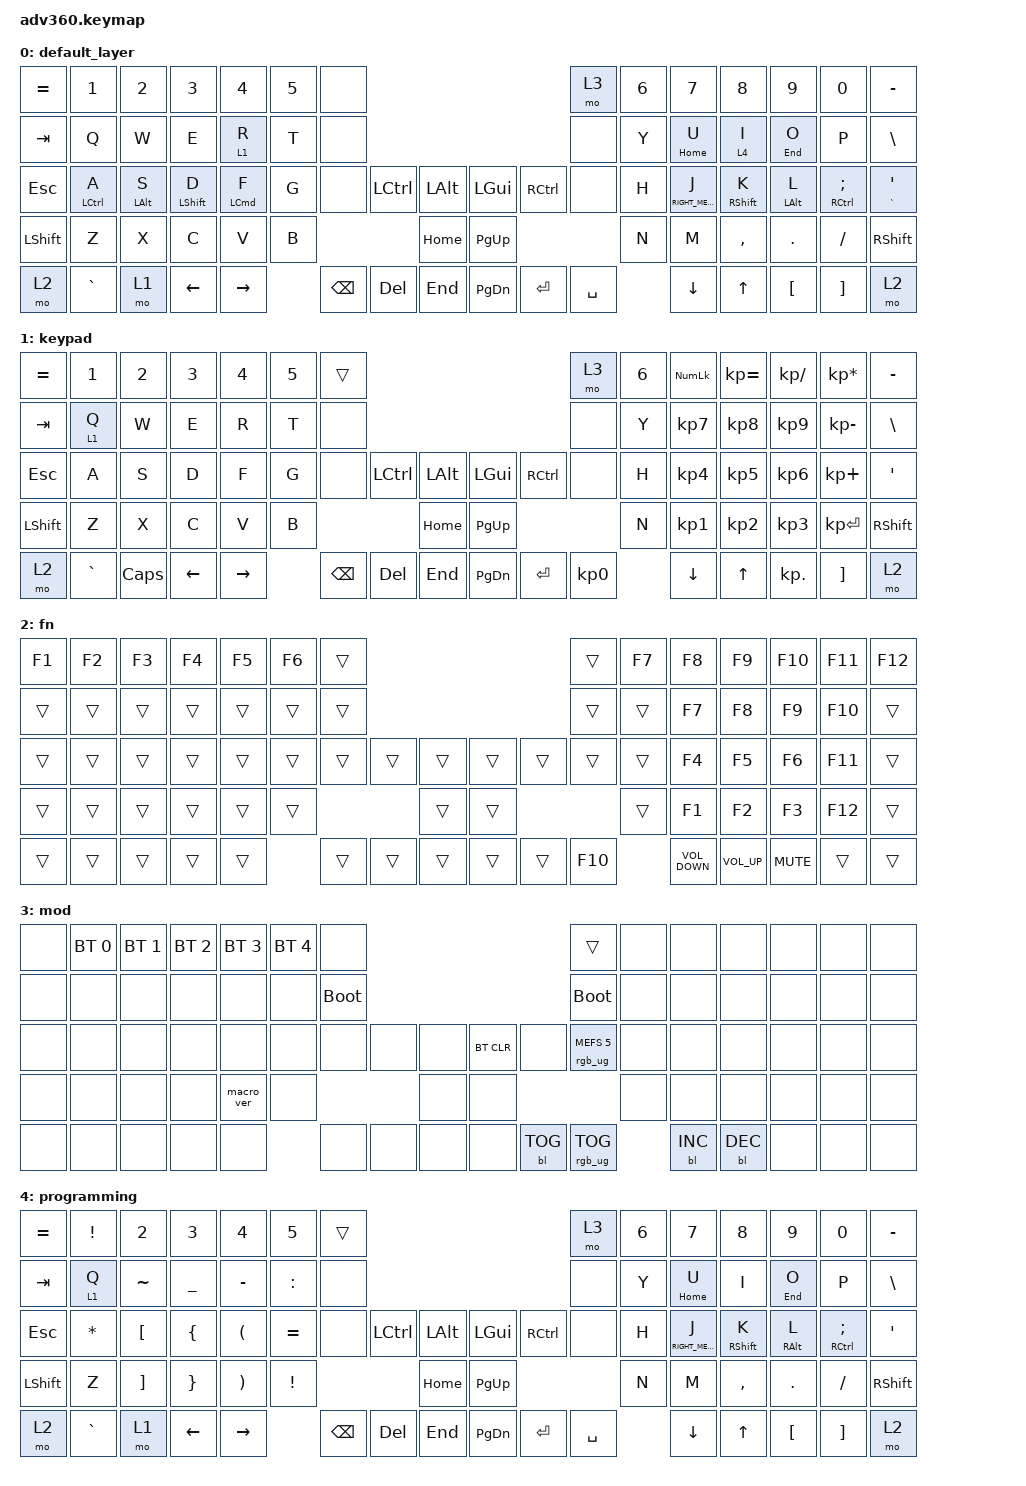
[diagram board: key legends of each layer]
#include <behaviors.dtsi>
#include <dt-bindings/zmk/backlight.h>
#include <dt-bindings/zmk/bt.h>
#include <dt-bindings/zmk/keys.h>
#include <dt-bindings/zmk/rgb.h>

/ {
    behaviors {
        #include "macros.dtsi"
      #include "version.dtsi"
      #ifndef VERSION_MACRO

        macro_ver: macro_ver {
            compatible = "zmk,behavior-macro";
            label = "macro_version";
            #binding-cells = <0>;
            bindings = <&kp RET>;
        };

        #endif

        hm: homerow_mods {
            compatible = "zmk,behavior-hold-tap";
            label = "HOMEROW_MODS";
            #binding-cells = <2>;
            tapping-term-ms = <200>;
            quick_tap_ms = <175>;
            flavor = "tap-preferred";
            bindings = <&kp>, <&kp>;
        };

        hmLayer: hmLayer {
            compatible = "zmk,behavior-hold-tap";
            label = "HMLAYER";
            #binding-cells = <2>;
            tapping-term-ms = <200>;
            quick_tap_ms = <175>;
            flavor = "tap-preferred";
            bindings = <&mo>, <&kp>;
        };
    };

    macros {
    };

    keymap {
        compatible = "zmk,keymap";

        default_layer {
            bindings = <
&kp EQUAL  &kp N1              &kp N2          &kp N3            &kp N4              &kp N5  &none                                                    &mo 3      &kp N6  &kp N7            &kp N8             &kp N9          &kp N0                       &kp MINUS
&kp TAB    &kp Q               &kp W           &kp E             &hmLayer 1 R        &kp T   &none                                                    &none      &kp Y   &hm HOME U        &hmLayer 4 I       &hm END O       &kp P                        &kp BSLH
&kp ESC    &hm LEFT_CONTROL A  &hm LEFT_ALT S  &hm LEFT_SHIFT D  &hm LEFT_COMMAND F  &kp G   &none     &kp LCTRL  &kp LALT      &kp LGUI   &kp RCTRL  &none      &kp H   &hm RIGHT_META J  &hm RIGHT_SHIFT K  &hm LEFT_ALT L  &hm RIGHT_CONTROL SEMICOLON  &hm GRAVE SINGLE_QUOTE
&kp LSHFT  &kp Z               &kp X           &kp C             &kp V               &kp B                        &kp HOME      &kp PG_UP                        &kp N   &kp M             &kp COMMA          &kp DOT         &kp FSLH                     &kp RSHFT
&mo 2      &kp GRAVE           &mo 1           &kp LEFT          &kp RIGHT                   &kp BSPC  &kp DEL    &kp END       &kp PG_DN  &kp ENTER  &kp SPACE          &kp DOWN          &kp UP_ARROW       &kp LBKT        &kp RBKT                     &mo 2
            >;
        };

        keypad {
            bindings = <
&kp EQUAL  &kp N1        &kp N2    &kp N3    &kp N4     &kp N5  &trans                                                   &mo 3      &kp N6  &kp KP_NUM      &kp KP_EQUAL  &kp KP_DIVIDE  &kp KP_MULTIPLY  &kp MINUS
&kp TAB    &hmLayer 1 Q  &kp W     &kp E     &kp R      &kp T   &none                                                    &none      &kp Y   &kp KP_N7       &kp KP_N8     &kp KP_N9      &kp KP_MINUS     &kp BSLH
&kp ESC    &kp A         &kp S     &kp D     &kp F      &kp G   &none     &kp LCTRL  &kp LALT      &kp LGUI   &kp RCTRL  &none      &kp H   &kp KP_N4       &kp KP_N5     &kp KP_N6      &kp KP_PLUS      &kp SQT
&kp LSHFT  &kp Z         &kp X     &kp C     &kp V      &kp B                        &kp HOME      &kp PG_UP                        &kp N   &kp KP_N1       &kp KP_N2     &kp KP_N3      &kp KP_ENTER     &kp RSHFT
&mo 2      &kp GRAVE     &kp CAPS  &kp LEFT  &kp RIGHT          &kp BSPC  &kp DEL    &kp END       &kp PG_DN  &kp ENTER  &kp KP_N0          &kp DOWN_ARROW  &kp UP_ARROW  &kp KP_DOT     &kp RBKT         &mo 2
            >;
        };

        fn {
            bindings = <
&kp F1  &kp F2  &kp F3  &kp F4  &kp F5  &kp F6  &trans                                      &trans   &kp F7  &kp F8             &kp F9           &kp F10     &kp F11  &kp F12
&trans  &trans  &trans  &trans  &trans  &trans  &trans                                      &trans   &trans  &kp F7             &kp F8           &kp F9      &kp F10  &trans
&trans  &trans  &trans  &trans  &trans  &trans  &trans  &trans  &trans      &trans  &trans  &trans   &trans  &kp F4             &kp F5           &kp F6      &kp F11  &trans
&trans  &trans  &trans  &trans  &trans  &trans                  &trans      &trans                   &trans  &kp F1             &kp F2           &kp F3      &kp F12  &trans
&trans  &trans  &trans  &trans  &trans          &trans  &trans  &trans      &trans  &trans  &kp F10          &kp C_VOLUME_DOWN  &kp C_VOLUME_UP  &kp K_MUTE  &trans   &trans
            >;
        };

        mod {
            bindings = <
&none  &bt BT_SEL 0  &bt BT_SEL 1  &bt BT_SEL 2  &bt BT_SEL 3  &bt BT_SEL 4  &none                                                  &trans                  &none  &none       &none       &none  &none  &none
&none  &none         &none         &none         &none         &none         &bootloader                                            &bootloader             &none  &none       &none       &none  &none  &none
&none  &none         &none         &none         &none         &none         &none        &none  &none      &bt BT_CLR  &none       &rgb_ug RGB_MEFS_CMD 5  &none  &none       &none       &none  &none  &none
&none  &none         &none         &none         &macro_ver    &none                             &none      &none                                           &none  &none       &none       &none  &none  &none
&none  &none         &none         &none         &none                       &none        &none  &none      &none       &bl BL_TOG  &rgb_ug RGB_TOG                &bl BL_INC  &bl BL_DEC  &none  &none  &none
            >;
        };

        programming {
            bindings = <
&kp EQUAL  &kp EXCLAMATION  &kp N2             &kp N3           &kp N4                 &kp N5     &trans                                                   &mo 3      &kp N6  &kp N7            &kp N8             &kp N9           &kp N0                       &kp MINUS
&kp TAB    &hmLayer 1 Q     &kp TILDE          &kp UNDERSCORE   &kp MINUS              &kp COLON  &none                                                    &none      &kp Y   &hm HOME U        &kp I              &hm END O        &kp P                        &kp BSLH
&kp ESC    &kp ASTERISK     &kp LEFT_BRACKET   &kp LEFT_BRACE   &kp LEFT_PARENTHESIS   &kp EQUAL  &none     &kp LCTRL  &kp LALT      &kp LGUI   &kp RCTRL  &none      &kp H   &hm RIGHT_META J  &hm RIGHT_SHIFT K  &hm RIGHT_ALT L  &hm RIGHT_CONTROL SEMICOLON  &kp SQT
&kp LSHFT  &kp Z            &kp RIGHT_BRACKET  &kp RIGHT_BRACE  &kp RIGHT_PARENTHESIS  &kp EXCL                        &kp HOME      &kp PG_UP                        &kp N   &kp M             &kp COMMA          &kp DOT          &kp FSLH                     &kp RSHFT
&mo 2      &kp GRAVE        &mo 1              &kp LEFT         &kp RIGHT                         &kp BSPC  &kp DEL    &kp END       &kp PG_DN  &kp ENTER  &kp SPACE          &kp DOWN          &kp UP_ARROW       &kp LBKT         &kp RBKT                     &mo 2
            >;
        };
    };
};
